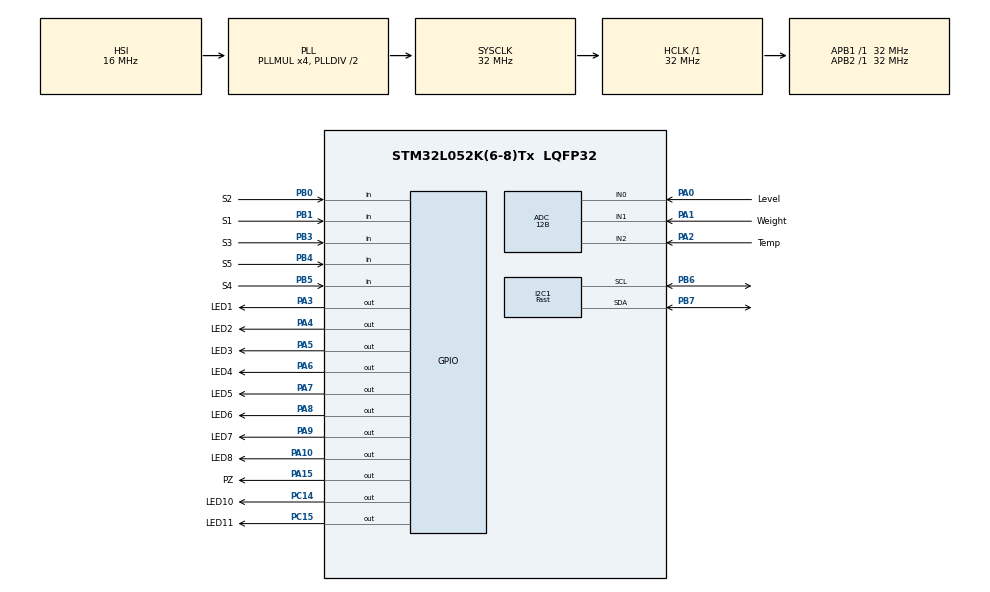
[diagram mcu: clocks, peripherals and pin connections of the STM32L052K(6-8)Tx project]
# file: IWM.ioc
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ADC.ClockPrescaler=ADC_CLOCK_SYNC_PCLK_DIV2
ADC.ContinuousConvMode=DISABLE
ADC.DMAContinuousRequests=DISABLE
ADC.DataAlign=ADC_DATAALIGN_RIGHT
ADC.DiscontinuousConvMode=DISABLE
ADC.EOCSelection=ADC_EOC_SEQ_CONV
ADC.EnableAnalogWatchDog=false
ADC.ExternalTrigConv=ADC_SOFTWARE_START
ADC.ExternalTrigConvEdge=ADC_EXTERNALTRIGCONVEDGE_NONE
ADC.LowPowerAutoPowerOff=DISABLE
ADC.LowPowerAutoWait=DISABLE
ADC.LowPowerFrequencyMode=DISABLE
ADC.Overrun=ADC_OVR_DATA_PRESERVED
ADC.OversamplingMode=DISABLE
ADC.Resolution=ADC_RESOLUTION_12B
ADC.SamplingTime=ADC_SAMPLETIME_1CYCLE_5
ADC.ScanConvMode=ADC_SCAN_DIRECTION_FORWARD
Dma.ADC.0.Direction=DMA_PERIPH_TO_MEMORY
Dma.ADC.0.Instance=DMA1_Channel1
Dma.ADC.0.MemDataAlignment=DMA_MDATAALIGN_WORD
Dma.ADC.0.MemInc=DMA_MINC_ENABLE
Dma.ADC.0.Mode=DMA_NORMAL
Dma.ADC.0.PeriphDataAlignment=DMA_PDATAALIGN_HALFWORD
Dma.ADC.0.PeriphInc=DMA_PINC_DISABLE
Dma.ADC.0.Priority=DMA_PRIORITY_LOW
Dma.Request0=ADC
I2C1.I2C_Speed_Mode=I2C_Fast
I2C1.Timing=0x00300F38
Mcu.Family=STM32L0
Mcu.Name=STM32L052K(6-8)Tx
Mcu.Package=LQFP32
NVIC.DMA1_Channel1_IRQn=true\:0\:0\:false\:false\:true\:false\:true
NVIC.TIM6_DAC_IRQn=true\:0\:0\:false\:false\:true\:true\:true
PA0.GPIO_Label=Level
PA0.Mode=IN0
PA0.Signal=ADC_IN0
PA1.GPIO_Label=Weight
PA1.Mode=IN1
PA1.Signal=ADC_IN1
PA10.GPIO_Label=LED8
PA10.PinState=GPIO_PIN_SET
PA10.Signal=GPIO_Output
PA15.GPIO_Label=PZ
PA15.PinState=GPIO_PIN_SET
PA15.Signal=GPIO_Output
PA2.GPIO_Label=Temp
PA2.Mode=IN2
PA2.Signal=ADC_IN2
PA3.GPIO_Label=LED1
PA3.PinState=GPIO_PIN_SET
PA3.Signal=GPIO_Output
PA4.GPIO_Label=LED2
PA4.PinState=GPIO_PIN_SET
PA4.Signal=GPIO_Output
PA5.GPIO_Label=LED3
PA5.PinState=GPIO_PIN_SET
PA5.Signal=GPIO_Output
PA6.GPIO_Label=LED4
PA6.PinState=GPIO_PIN_SET
PA6.Signal=GPIO_Output
PA7.GPIO_Label=LED5
PA7.PinState=GPIO_PIN_SET
PA7.Signal=GPIO_Output
PA8.GPIO_Label=LED6
PA8.PinState=GPIO_PIN_SET
PA8.Signal=GPIO_Output
PA9.GPIO_Label=LED7
PA9.PinState=GPIO_PIN_SET
PA9.Signal=GPIO_Output
PB0.GPIO_Label=S2
PB0.GPIO_PuPd=GPIO_PULLUP
PB0.Signal=GPIO_Input
PB1.GPIO_Label=S1
PB1.GPIO_PuPd=GPIO_PULLUP
PB1.Signal=GPIO_Input
PB3.GPIO_Label=S3
PB3.GPIO_PuPd=GPIO_PULLUP
PB3.Signal=GPIO_Input
PB4.GPIO_Label=S5
PB4.GPIO_PuPd=GPIO_PULLUP
PB4.Signal=GPIO_Input
PB5.GPIO_Label=S4
PB5.GPIO_PuPd=GPIO_PULLUP
PB5.Signal=GPIO_Input
PB6.Mode=I2C
PB6.Signal=I2C1_SCL
PB7.Mode=I2C
PB7.Signal=I2C1_SDA
PC14-OSC32_IN.GPIO_Label=LED10
PC14-OSC32_IN.PinState=GPIO_PIN_SET
PC14-OSC32_IN.Signal=GPIO_Output
PC15-OSC32_OUT.GPIO_Label=LED11
PC15-OSC32_OUT.PinState=GPIO_PIN_SET
PC15-OSC32_OUT.Signal=GPIO_Output
ProjectManager.HeapSize=0x200
ProjectManager.StackSize=0x400
ProjectManager.TargetToolchain=TrueSTUDIO
RCC.AHBFreq_Value=32000000
RCC.APB1Freq_Value=32000000
RCC.APB1TimFreq_Value=32000000
RCC.APB2Freq_Value=32000000
RCC.APB2TimFreq_Value=32000000
RCC.HCLKFreq_Value=32000000
RCC.HSI16_VALUE=16000000
RCC.HSI48_VALUE=48000000
RCC.HSI_VALUE=16000000
RCC.LSE_VALUE=32768
RCC.MSI_VALUE=2097000
RCC.PLLMUL=RCC_PLLMUL_4
RCC.SYSCLKFreq_VALUE=32000000
RCC.SYSCLKSource=RCC_SYSCLKSOURCE_PLLCLK
RCC.VCOOutputFreq_Value=64000000
TIM6.AutoReloadPreload=TIM_AUTORELOAD_PRELOAD_DISABLE
TIM6.Period=999
TIM6.Prescaler=31
VP_TIM6_VS_ClockSourceINT.Mode=Enable_Timer
board=custom

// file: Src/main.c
/* USER CODE BEGIN Header */
/**
 ******************************************************************************
 * @file           : main.c
 * @brief          : Main program body
 ******************************************************************************
 ** This notice applies to any and all portions of this file
 * that are not between comment pairs USER CODE BEGIN and
 * USER CODE END. Other portions of this file, whether
 * inserted by the user or by software development tools
 * are owned by their respective copyright owners.
 *
 * COPYRIGHT(c) 2019 STMicroelectronics
 *
 * Redistribution and use in source and binary forms, with or without modification,
 * are permitted provided that the following conditions are met:
 *   1. Redistributions of source code must retain the above copyright notice,
 *      this list of conditions and the following disclaimer.
 *   2. Redistributions in binary form must reproduce the above copyright notice,
 *      this list of conditions and the following disclaimer in the documentation
 *      and/or other materials provided with the distribution.
 *   3. Neither the name of STMicroelectronics nor the names of its contributors
 *      may be used to endorse or promote products derived from this software
 *      without specific prior written permission.
 *
 * THIS SOFTWARE IS PROVIDED BY THE COPYRIGHT HOLDERS AND CONTRIBUTORS "AS IS"
 * AND ANY EXPRESS OR IMPLIED WARRANTIES, INCLUDING, BUT NOT LIMITED TO, THE
 * IMPLIED WARRANTIES OF MERCHANTABILITY AND FITNESS FOR A PARTICULAR PURPOSE ARE
 * DISCLAIMED. IN NO EVENT SHALL THE COPYRIGHT HOLDER OR CONTRIBUTORS BE LIABLE
 * FOR ANY DIRECT, INDIRECT, INCIDENTAL, SPECIAL, EXEMPLARY, OR CONSEQUENTIAL
 * DAMAGES (INCLUDING, BUT NOT LIMITED TO, PROCUREMENT OF SUBSTITUTE GOODS OR
 * SERVICES; LOSS OF USE, DATA, OR PROFITS; OR BUSINESS INTERRUPTION) HOWEVER
 * CAUSED AND ON ANY THEORY OF LIABILITY, WHETHER IN CONTRACT, STRICT LIABILITY,
 * OR TORT (INCLUDING NEGLIGENCE OR OTHERWISE) ARISING IN ANY WAY OUT OF THE USE
 * OF THIS SOFTWARE, EVEN IF ADVISED OF THE POSSIBILITY OF SUCH DAMAGE.
 *
 ******************************************************************************
 */
/* USER CODE END Header */

#include "main.h"
#include "adc.h"
#include "dma.h"
#include "i2c.h"
#include "tim.h"
#include "gpio.h"

/* USER CODE BEGIN Includes */
#include "lcd_user.h"
#include <stdio.h>
/* USER CODE END Includes */

/* USER CODE BEGIN PD */
#define REV(x) HAL_GPIO_WritePin(LED1_GPIO_Port,LED1_Pin,(x)?GPIO_PIN_SET:GPIO_PIN_RESET)
#define LOCK(x) HAL_GPIO_WritePin(LED2_GPIO_Port,LED2_Pin,(x)?GPIO_PIN_SET:GPIO_PIN_RESET)
#define FWD(x) HAL_GPIO_WritePin(LED3_GPIO_Port,LED3_Pin,(x)?GPIO_PIN_SET:GPIO_PIN_RESET)
#define DETERGENT(x) HAL_GPIO_WritePin(LED4_GPIO_Port,LED4_Pin,(x)?GPIO_PIN_SET:GPIO_PIN_RESET)
#define SUPPLY(x) HAL_GPIO_WritePin(LED5_GPIO_Port,LED5_Pin,(x)?GPIO_PIN_SET:GPIO_PIN_RESET)
#define HEATING(x) HAL_GPIO_WritePin(LED6_GPIO_Port,LED6_Pin,(x)?GPIO_PIN_SET:GPIO_PIN_RESET)
#define SOFT(x) HAL_GPIO_WritePin(LED7_GPIO_Port,LED7_Pin,(x)?GPIO_PIN_SET:GPIO_PIN_RESET)
#define DRYER(x) HAL_GPIO_WritePin(LED8_GPIO_Port,LED8_Pin,(x)?GPIO_PIN_SET:GPIO_PIN_RESET)
#define DRAIN(x) HAL_GPIO_WritePin(LED10_GPIO_Port,LED10_Pin,(x)?GPIO_PIN_SET:GPIO_PIN_RESET)
#define HI_SPEED(x) HAL_GPIO_WritePin(LED11_GPIO_Port,LED11_Pin,(x)?GPIO_PIN_SET:GPIO_PIN_RESET)

#define BUZZER(x) HAL_GPIO_WritePin(PZ_GPIO_Port,PZ_Pin,(x)?GPIO_PIN_SET:GPIO_PIN_RESET)

#define SW_ENTER HAL_GPIO_ReadPin(S1_GPIO_Port,S1_Pin)
#define SW_DOWN HAL_GPIO_ReadPin(S2_GPIO_Port,S2_Pin)
#define SW_BACK HAL_GPIO_ReadPin(S3_GPIO_Port,S3_Pin)
#define SW_UP HAL_GPIO_ReadPin(S4_GPIO_Port,S4_Pin)
#define SW_DOOR HAL_GPIO_ReadPin(S5_GPIO_Port,S5_Pin)

/* USER CODE END PD */

/* USER CODE BEGIN PV */
int i = 0, timeload = 1, c = 0, au = 0, work = 0, check = 0, revt, l = 0;
int le, we, te, ltem;
char revtime[100];
char revtemp[100];
char time[10];
char days[10];
char tida[3][25];
char mods[3][30];
char lwe[3][30];
char ltime[3][30];
char lvel[3][30];
char lpc[3][30];
char level[100];
char weight[100];
char temp[100];
uint32_t adc[3];
uint32_t tc[10] = { 0, };
uint8_t tem = 0;
uint8_t t = 0;
uint8_t ms = 0;
uint8_t s = 0;
uint8_t m = 0;
uint8_t h = 0;
uint32_t yea = 21;
uint8_t mon = 1;
uint8_t day = 1;

/* USER CODE END PV */

void SystemClock_Config(void);
/* USER CODE BEGIN PFP */
void* memset(void *ptr, int value, size_t num);
/* USER CODE END PFP */

/* USER CODE BEGIN 0 */

void ledoff() {

	REV(0);
	LOCK(0);
	FWD(0);
	DETERGENT(0);
	SUPPLY(0);
	HEATING(0);
	SOFT(0);
	DRYER(0);
	DRAIN(0);
	HI_SPEED(0);

}
void st() {
	while (SW_UP == 0) {
		HAL_Delay(75);
	}
	while (SW_DOWN == 0) {
		HAL_Delay(75);
	}
	while (SW_BACK == 0) {
		HAL_Delay(75);
	}
	while (SW_ENTER == 0) {
		HAL_Delay(75);
	}
	BUZZER(1);
	HAL_Delay(100);
	BUZZER(0);
}

void error() {

	while (SW_UP == 0) {
		HAL_Delay(75);
	}
	while (SW_DOWN == 0) {
		HAL_Delay(75);
	}
	while (SW_BACK == 0) {
		HAL_Delay(75);
	}
	while (SW_ENTER == 0) {
		HAL_Delay(75);
	}

	BUZZER(1);
	HAL_Delay(100);
	BUZZER(0);
	HAL_Delay(100);
	BUZZER(1);
	HAL_Delay(100);
	BUZZER(0);

}

int dcount(int i) {

	switch (mon) {
	case 1:
		if (day == 32) {
			day = 1;
			mon++;
		}
		break;
	case 2:
		if (i == 0) {
			if (day == 29) {
				day = 1;
				mon++;
			}
		} else {
			if (day == 30) {
				day = 1;
				mon++;
			}
		}
		break;
	case 3:
		if (day == 32) {
			day = 1;
			mon++;
		}
		break;
	case 4:
		if (day == 31) {
			day = 1;
			mon++;
		}
		break;
	case 5:
		if (day == 32) {
			day = 1;
			mon++;
		}
		break;
	case 6:
		if (day == 31) {
			day = 1;
			mon++;
		}
		break;
	case 7:
		if (day == 32) {
			day = 1;
			mon++;
		}
		break;
	case 8:
		if (day == 32) {
			day = 1;
			mon++;
		}
		break;
	case 9:
		if (day == 31) {
			day = 1;
			mon++;
		}
		break;
	case 10:
		if (day == 32) {
			day = 1;
			mon++;
		}
		break;
	case 11:
		if (day == 31) {
			day = 1;
			mon++;
		}
		break;
	case 12:
		if (day == 32) {

			day = 1;
			mon = 1;
			yea++;
		}
		break;
	}
}

void daygo() {

	int i;
	if (h == 24) {
		h = 0;
		day++;
	}
	if (day >= 28) {
		if (yea % 4 == 0 && yea % 100 == 0 && yea % 400 == 0) {
			//윤년
			i = 1;
		} else if (yea % 4 == 0 && yea % 100 == 0) {
			//평년
			i = 0;
		} else if (yea % 4 == 0) {
			//윤년
			i = 1;
		} else {
			//평년
			i = 0;
		}
	}

	dcount(i);

}

void timego() {
	uint8_t n;

	if (t == 100) {
		t = 0;
		ms++;

		if (ms == 10) {
			ms = 0;
			s++;
		}
		if (s == 60) {
			s = 0;
			m++;
		}
		if (m == 60) {
			m = 0;
			h++;
			daygo();
		}
		sprintf(time, "%02d:%02d:%02d", h, m, s);
		sprintf(days, "%02ld-%02d-%02d", yea, mon, day);

		if (timeload == 1) {

			OLED_ShowStringXY(13, 0, time, 1);
			OLED_ShowStringXY(0, 0, days, 1);

		}
	}

}

void HAL_TIM_PeriodElapsedCallback(TIM_HandleTypeDef *htim) {

	int a;

	if (htim->Instance == htim6.Instance) {
		t++;
		for (a = 0; a < 8; a++)
			tc[i]++;
		timego();
	}
}

void oc() {
	int r, n;

	for (r = 1; r < 8; r++) {
		IIC_Writecmd(0xb0 + r);
		IIC_Writecmd(0x00);
		IIC_Writecmd(0x10);
		for (n = 0; n < 128; n++)
			IIC_Writedata(0);
	}
	OLED_Set_Pos(0, 0);

	if (timeload == 1) {
		OLED_Set_Pos(0, 1);
		for (n = 0; n < 128; n++)
			IIC_Writedata(1);
		OLED_Set_Pos(0, 0);
	}
}

void door() {

	if (SW_DOOR == 0) {

		LOCK(1);
		OLED_ShowStringXY(0, 4, "D:CLOSE", 1);

	} else if (SW_DOOR == 1) {
		if (work == 1) {
			BUZZER(1);
			HAL_Delay(100);
			BUZZER(0);
			HAL_Delay(100);
		}

		LOCK(0);
		OLED_ShowStringXY(0, 4, "D:OPEN   ", 1);

	}

}

void vr() {

	HAL_ADC_Start_DMA(&hadc, (uint32_t*) adc, 3);

	le = adc[0] / 40 - 3;
	we = adc[1] / 227;
	te = adc[2] / 56 - 3;

	if (le <= -1) {
		le = 0;
	}
	if (te <= -1) {
		te = 0;
	}
	if (te >= 66 || we >= 16) {
		BUZZER(1);
		HAL_Delay(100);
		BUZZER(0);
		HAL_Delay(100);

	}

	sprintf(level, "L:%02d", le);
	sprintf(weight, "W:%02d", we);
	sprintf(temp, "T:%02d", te);

	OLED_ShowStringXY(0, 6, level, 1);
	OLED_ShowStringXY(8, 6, weight, 1);
	OLED_ShowStringXY(16, 6, temp, 1);

	if (le >= we * 6 && le != 0) {

		SUPPLY(0);

		if (c == 0) {
			c = 1;
			sprintf(lvel[2], "%s", lvel[1]);
			sprintf(lvel[1], "%s", lvel[0]);
			sprintf(lvel[0], "Water cost:%.2lf m|", tc[5] / 1000 * 0.08);

		}

	}

	door();

}

void vrr() {

	HAL_ADC_Start_DMA(&hadc, (uint32_t*) adc, 3);

	le = adc[0] / 40 - 3;
	we = adc[1] / 227;
	te = adc[2] / 56 - 3;

	if (le <= -1) {
		le = 0;
	}
	if (te <= -1) {
		te = 0;
	}
	if (te >= 66 || we >= 16) {
		BUZZER(1);
		HAL_Delay(100);
		BUZZER(0);
		HAL_Delay(100);

	}

	sprintf(level, "L:%02d", le);
	sprintf(weight, "W:%02d", we);
	sprintf(temp, "T:%02d", te);

	OLED_ShowStringXY(0, 6, level, 1);
	OLED_ShowStringXY(8, 6, weight, 1);
	OLED_ShowStringXY(16, 6, temp, 1);

	if (le >= we * 6 && le != 0) {

		SUPPLY(0);

		if (au == 0) {
			if (c == 0) {
				c = 1;
				sprintf(lvel[2], "%s", lvel[1]);
				sprintf(lvel[1], "%s", lvel[0]);
				sprintf(lvel[0], "Water cost:%.2lf m|", tc[5] / 1000 * 0.08);

			}
		}

	}

	door();

}

void vd() {

	HAL_ADC_Start_DMA(&hadc, (uint32_t*) adc, 3);

	le = adc[0] / 40 - 3;
	we = adc[1] / 227;
	te = adc[2] / 56 - 3;

	if (le <= -1) {
		le = 0;
	}
	if (te <= -1) {
		te = 0;
	}

	if (te >= 66 || we >= 16) {
		BUZZER(1);
		HAL_Delay(100);
		BUZZER(0);
		HAL_Delay(100);

	}

	sprintf(level, "L:%02d", le);
	sprintf(weight, "W:%02d", we);
	sprintf(temp, "T:%02d", te);

	OLED_ShowStringXY(0, 6, level, 1);
	OLED_ShowStringXY(8, 6, weight, 1);
	OLED_ShowStringXY(16, 6, temp, 1);

	door();

}

void swui() {

	switch (i) {

	case 0:
		OLED_ShowStringXY(13, 4, "SET:COLD", 1);
		tem = 20;
		break;

	case 1:
		OLED_ShowStringXY(13, 4, "SET:30}C", 1);
		tem = 30;
		break;

	case 2:
		OLED_ShowStringXY(13, 4, "SET:40}C", 1);
		tem = 40;
		break;

	case 3:
		OLED_ShowStringXY(13, 4, "SET:50}C", 1);
		tem = 50;
		break;

	case 4:
		OLED_ShowStringXY(13, 4, "SET:60}C", 1);
		tem = 60;
		break;

	}

}

int sww(int x) {

	static int j = 1;

	if (x == 1) {
		tc[5] = 0;
		tc[7] = 0;
		check = 1;
		SUPPLY(1);
		DETERGENT(1);
		tc[1] = 0;
		j = 2;
	}

	if (j == 2) {
		if (tc[1] >= 2000) {
			DETERGENT(0);
			return 1;
		}
	}

}

int srw(int x) {

	static int j = 1;

	if (x == 1) {
		tc[5] = 0;
		tc[7] = 0;
		check = 1;
		SUPPLY(1);
		DETERGENT(1);
		tc[1] = 0;
		j = 2;
	}

	if (j == 2) {
		if (tc[1] >= 1000) {
			DETERGENT(0);
			return 1;
		}
	}

	if (tc[7] >= 5000 && le < we * 6) {
		BUZZER(1);
		HAL_Delay(100);
		BUZZER(0);
		HAL_Delay(100);

	}
}

int semid() {

	int x = 1, y = 0, j = 0, z;
	i = 0;
	ledoff();
	door();
	vd();
	tc[7] = 0;

	while (1) {

		if (tc[0] >= 75) {
			tc[0] = 0;
			vd();
			if (tc[2] >= 500) {
				tc[2] = 0;

				if (le < 2 && SW_DOOR == 0) {

					work = 1;
					DRAIN(0);

					if (y == 0) {
						y = 1;
						tc[3] = 0;
					}

					if (tc[3] >= 0 && tc[3] < 3000) {
						FWD(1);
					} else if (tc[3] >= 3000 && tc[3] < 4000) {
						FWD(0);
					} else if (tc[3] >= 4000 && tc[3] < 7000) {
						REV(1);
					} else if (tc[3] >= 7000 && tc[3] < 8000) {
						REV(0);
					} else if (tc[3] >= 8000 && tc[3] < 11000) {
						FWD(1);
					} else if (tc[3] >= 11000 && tc[3] < 20000) {
						HI_SPEED(1);
					} else if (tc[3] >= 20000 && tc[3] < 21000) {
						HI_SPEED(0);
					} else if (tc[3] >= 22000 && tc[3] < 23000) {
						ledoff();
						i = 2;
						work = 0;
						check = 0;
						return 5;
					}
				}
			}
		}

		if (le >= 2) {
			if (check == 0) {
				tc[7] = 0;
				check = 1;
			} else if (check == 1 && tc[7] >= 5000) {
				BUZZER(1);
				HAL_Delay(100);
				BUZZER(0);
				HAL_Delay(100);

			}
			DRAIN(1);

		} else {
			DRAIN(0);

		}

		if (SW_UP == 0) {
			error();

		} else if (SW_DOWN == 0) {
			error();

		}

		if (SW_ENTER == 0) {
			error();

		}

		if (SW_BACK == 0) {

			error();

		}
	}

}

int semir() {

	int x = 1, y = 0, j = 0, z;

	i = 0;
	door();

	while (1) {

		if (tc[0] >= 75) {
			tc[0] = 0;
			vrr();

			if (tc[2] >= 500) {
				tc[2] = 0;

				if (SW_DOOR == 0) {
					j = srw(x);
					if (x == 1) {
						x = 2;

					}
				}

				if (j == 1 && x == 2 && le >= we * 6 && SW_DOOR == 0
						&& le != 0) {

					work = 1;

					if (y == 0) {
						y = 1;
						tc[3] = 0;
					}

					if (tc[3] >= 0 && tc[3] < 2000) {
						FWD(1);
					} else if (tc[3] >= 2000 && tc[3] < 3000) {
						FWD(0);
					} else if (tc[3] >= 3000 && tc[3] < 5000) {
						REV(1);
					} else if (tc[3] >= 5000 && tc[3] < 6000) {
						REV(0);
					} else if (tc[3] >= 6000 && tc[3] < 8000) {
						FWD(1);
					} else if (tc[3] >= 8000 && tc[3] < 9000) {
						FWD(0);
					} else if (tc[3] >= 9000 && tc[3] < 11000) {
						REV(1);
					} else if (tc[3] >= 11000 && tc[3] < 12000) {
						REV(0);
						ledoff();
						i = 1;
						c = 0;
						work = 0;
						check = 0;
						return 5;
					}
				}
			}
		}

		if (check == 1) {
			if (tc[7] >= 5000 && le < we * 6) {
				BUZZER(1);
				HAL_Delay(100);
				BUZZER(0);
				HAL_Delay(100);

			}
		}

		if (SW_UP == 0) {
			error();

		} else if (SW_DOWN == 0) {
			error();
		}

		if (SW_ENTER == 0) {
			error();

		}

		if (SW_BACK == 0) {

			error();

		}
	}

}

int semiw() {

	int x = 0, y = 0, j = 0, ch = 0;

	i = 0;
	OLED_ShowStringXY(15, 2, "SETT", 1);
	door();
	swui();

	while (1) {

		if (tc[0] >= 75) {
			tc[0] = 0;
			vr();
			if (tc[2] >= 500) {
				tc[2] = 0;
				j = sww(x);
				if (x == 1) {
					x = 2;

				}

				if (j == 1 && x == 2 && le >= we * 6 && te >= tem
						&& SW_DOOR == 0 && le != 0) {

					work = 1;

					if (y == 0) {
						y = 1;
						tc[3] = 0;
					}

					if (tc[3] >= 0 && tc[3] < 2000) {
						FWD(1);
					} else if (tc[3] >= 2000 && tc[3] < 3000) {
						FWD(0);
					} else if (tc[3] >= 3000 && tc[3] < 5000) {
						REV(1);
					} else if (tc[3] >= 5000 && tc[3] < 6000) {
						REV(0);
					} else if (tc[3] >= 6000 && tc[3] < 8000) {
						FWD(1);
					} else if (tc[3] >= 8000 && tc[3] < 9000) {
						FWD(0);
					} else if (tc[3] >= 9000 && tc[3] < 11000) {
						REV(1);
					} else if (tc[3] >= 11000 && tc[3] < 12000) {
						REV(0);
					} else if (tc[3] >= 12000 && tc[3] < 14000) {
						FWD(1);
					} else if (tc[3] >= 14000 && tc[3] < 15000) {
						FWD(0);
					} else if (tc[3] >= 15000 && tc[3] < 17000) {
						REV(1);
					} else if (tc[3] >= 17000 && tc[3] < 18000) {
						ledoff();
						i = 0;
						c = 0;
						work = 0;
						check = 0;
						return 5;
					}
				}
			}

		}

		if (te < tem && le >= we * 6 && le != 0 && we != 0) {
			if (ch == 0) {
				tc[6] = 0;
				ch = 1;
			}
			HEATING(1);

		}

		if (tc[6] < 5000 && te < tem) {
			BUZZER(1);
			HAL_Delay(100);
			BUZZER(0);
			HAL_Delay(100);

		}

		if (te >= tem) {
			if (au == 0) {
				sprintf(lpc[2], "%s", lpc[1]);
				sprintf(lpc[1], "%s", lpc[0]);
				sprintf(lpc[0], "Power cost:%.2lf kw.h",
						12 * 0.05 + tc[6] / 1000 * 0.2);

			}
			ltem = tc[6];
			HEATING(0);

		}

		if (check == 1) {
			if (tc[7] >= 5000 && le < we * 6) {
				BUZZER(1);
				HAL_Delay(100);
				BUZZER(0);
				HAL_Delay(100);

			}
		}

		if (SW_UP == 0) {
			st();
			i++;
			if (i >= 5) {
				i = 4;
			}
			swui();

		} else if (SW_DOWN == 0) {
			st();
			i--;
			if (i <= -1) {
				i = 0;
			}
			swui();

		}

		if (SW_ENTER == 0) {
			st();
			if (SW_DOOR == 0) {
				OLED_ShowStringXY(15, 2, "     ", 1);
				x++;

			}

		}

		if (SW_BACK == 0) {

			error();

		}

	}

}

int sautodry() {

	int x = 1, y = 0, j = 0, z;

	i = 0;
	OLED_ShowStringXY(0, 2, "Auto-Dry ", 1);
	door();

	while (1) {

		if (tc[0] >= 75) {
			tc[0] = 0;
			vd();
			if (tc[2] >= 500) {
				tc[2] = 0;

				if (le < 2 && SW_DOOR == 0) {
					work = 1;
					DRAIN(0);

					if (y == 0) {
						y = 1;
						tc[3] = 0;
					}

					if (tc[3] >= 0 && tc[3] < 2000) {
						FWD(1);
						DRYER(1);
					} else if (tc[3] >= 2000 && tc[3] < 3000) {
						FWD(0);
					} else if (tc[3] >= 3000 && tc[3] < 5000) {
						REV(1);
					} else if (tc[3] >= 5000 && tc[3] < 6000) {
						REV(0);
					} else if (tc[3] >= 6000 && tc[3] < 8000) {
						FWD(1);
					} else if (tc[3] >= 8000 && tc[3] < 9000) {
						FWD(0);
					} else if (tc[3] >= 9000 && tc[3] < 11000) {
						REV(1);
						DRYER(1);
					} else if (tc[3] >= 11000 && tc[3] < 12000) {
						REV(0);
						ledoff();
						i = 1;
						work = 0;
						return 5;
					}
				}
			}
		}

		if (le >= 2) {
			DRAIN(1);

		} else {
			DRAIN(0);

		}

		if (SW_UP == 0) {
			error();

		} else if (SW_DOWN == 0) {
			error();
		}

		if (SW_ENTER == 0) {
			error();

		}

		if (SW_BACK == 0) {

			error();

		}
	}
}

void semirepui(int j) {

	OLED_ShowStringXY(0, 3, "-OK       ", 0 != j);
	OLED_ShowStringXY(0, 5, "-BACK     ", 1 != j);

}

int semirep() {

	int j = 0;
	semirepui(j);

	while (1) {

		if (SW_UP == 0) {
			st();
			j--;
			if (j <= -1) {
				j = 0;
			}
			semirepui(j);

		} else if (SW_DOWN == 0) {
			st();
			j++;
			if (j >= 2) {
				j = 1;
			}
			semirepui(j);

		}

		if (SW_ENTER == 0) {
			st();
			oc();
			if (j == 1) {
				i = 1;
				return 1;

			} else {
				return 6;

			}

		}

		if (SW_BACK == 0) {
			st();
			i = 1;
			return 1;

		}

	}

}

int sauto() {

	i = 0;
	au = 1;
	OLED_ShowStringXY(0, 2, "Auto-Wash", 1);
	semiw();
	semid();
	semir();
	semid();
	semir();
	semid();
	sautodry();

	au = 0;
	i = 0;
	return 1;

}

void sautoui(int j) {

	OLED_ShowStringXY(0, 1, "Auto", 1);
	OLED_ShowStringXY(0, 3, "-START    ", 0 != j);
	OLED_ShowStringXY(0, 5, "-BACK     ", 1 != j);

}

int sautorep() {

	int j = 0;
	sautoui(j);

	while (1) {

		if (SW_UP == 0) {
			st();
			j--;
			if (j <= -1) {
				j = 0;
			}
			sautoui(j);

		} else if (SW_DOWN == 0) {
			st();
			j++;
			if (j >= 2) {
				j = 1;
			}
			sautoui(j);

		}

		if (SW_ENTER == 0) {
			st();
			oc();
			if (j == 1) {
				i = 0;
				return 0;

			} else {
				return 7;

			}

		}

		if (SW_BACK == 0) {

			st();
			i = 0;
			return 0;

		}

	}

}

void semiui() {
	OLED_ShowStringXY(0, 3, "-Wash     ", 0 != i);
	OLED_ShowStringXY(0, 5, "-RINSE    ", 1 != i);
	OLED_ShowStringXY(0, 7, "-DRY      ", 2 != i);

}

int semi() {

	i = 0;
	OLED_ShowStringXY(0, 1, "Semi", 1);
	semiui();

	while (1) {

		if (SW_UP == 0) {
			st();
			i--;
			if (i <= -1) {
				i = 0;
			}
			semiui();

		} else if (SW_DOWN == 0) {
			st();
			i++;
			if (i >= 3) {
				i = 2;
			}
			semiui();

		}

		if (SW_ENTER == 0) {
			st();
			return 5;

		}

		if (SW_BACK == 0) {
			st();
			oc();
			i = 0;
			return 3;
		}

	}

}

void leds(int j) {

	switch (i) {

	case 0:
		FWD(j != 1);
		break;

	case 1:
		REV(j != 1);
		break;

	case 2:
		DRYER(j != 1);
		break;

	case 3:
		HEATING(j != 1);
		break;

	case 4:
		HI_SPEED(j != 1);
		break;

	case 5:
		SUPPLY(j != 1);
		break;

	case 6:
		DRAIN(j != 1);
		break;

	case 7:
		LOCK(j != 1);
		break;

	case 8:
		DETERGENT(j != 1);
		break;

	case 9:
		SOFT(j != 1);
		break;

	}

}

void led(int j) {

	OLED_ShowStringXY(0, 5, "-ON       ", 0 != j);
	OLED_ShowStringXY(0, 7, "-OFF      ", 1 != j);

}

int manualleds() {
	int j = 0;

	OLED_ShowStringXY(9, 3, "Run", 1);
	led(j);

	while (1) {

		if (SW_UP == 0) {
			st();
			j--;
			if (j <= -1) {
				j = 0;
			}
			led(j);

		} else if (SW_DOWN == 0) {
			st();
			j++;
			if (j >= 2) {
				j = 1;
			}
			led(j);

		} else if (SW_BACK == 0) {
			st();
			oc();
			return 4;
		}

		if (SW_ENTER == 0) {
			st();
			leds(j);
			BUZZER(1);
			HAL_Delay(300);
			BUZZER(0);

		}

	}

}

void manuals() {

	if (i == 3 || i == 4 || i == 8 || i == 9) {
		OLED_ShowStringXY(0, 3, "-HEAT     ", 3 != i);
		OLED_ShowStringXY(0, 5, "-HI-SPEED ", 4 != i);
		OLED_ShowStringXY(11, 3, "-DETE    ", 8 != i);
		OLED_ShowStringXY(11, 5, "-SOFT    ", 9 != i);

	} else {

		OLED_ShowStringXY(0, 3, "-FWD      ", 0 != i);
		OLED_ShowStringXY(0, 5, "-REV      ", 1 != i);
		OLED_ShowStringXY(0, 7, "-DRYER    ", 2 != i);
		OLED_ShowStringXY(11, 3, "-Win     ", 5 != i);
		OLED_ShowStringXY(11, 5, "-Wout    ", 6 != i);
		OLED_ShowStringXY(11, 7, "-LOCK    ", 7 != i);

	}

}

int manual() {

	i = 0;
	OLED_ShowStringXY(0, 1, "Manual", 1);
	manuals();

	while (1) {

		if (SW_UP == 0) {
			st();
			i--;
			if (i <= -1) {
				i = 0;
			}
			if (i == 2 || i == 4 || i == 7) {
				oc();
				OLED_ShowStringXY(0, 1, "Manual", 1);

			}
			manuals();

		} else if (SW_DOWN == 0) {
			st();
			i++;
			if (i >= 10) {
				i = 9;
			}
			if (i == 3 || i == 5 || i == 8) {
				oc();
				OLED_ShowStringXY(0, 1, "Manual", 1);

			}
			manuals();

		}

		if (SW_ENTER == 0) {
			st();
			return 2;

		}

		if (SW_BACK == 0) {
			st();
			oc();
			return 3;
		}

	}

}

int modes() {

	OLED_ShowStringXY(0, 3, "-AUTO     ", 0 != i);
	OLED_ShowStringXY(0, 5, "-SEMI-AUTO", 1 != i);
	OLED_ShowStringXY(0, 7, "-MANUAL   ", 2 != i);

}

int mode() {

	i = 0;
	OLED_ShowStringXY(0, 1, "Mode", 1);
	modes();

	while (1) {

		if (SW_UP == 0) {
			st();
			i--;
			if (i <= -1) {
				i = 0;
			}
			modes();

		} else if (SW_DOWN == 0) {
			st();
			i++;
			if (i >= 3) {
				i = 2;
			}
			modes();

		}

		if (SW_ENTER == 0) {
			st();
			return 1;

		}

		if (SW_BACK == 0) {
			st();
			oc();
			i = 0;
			return -1;
		}

	}

}

int alog() {

	timeload = 0;

	OLED_ShowStringXY(0, 0, "LOG:", 1);
	OLED_ShowStringXY(4, 0, tida[i], 1);
	OLED_ShowStringXY(0, 1, mods[i], 1);
	OLED_ShowStringXY(0, 2, ltime[i], 1);
	OLED_ShowStringXY(12, 2, lwe[i], 1);
	OLED_ShowStringXY(0, 4, lvel[i], 1);
	OLED_ShowStringXY(0, 6, lpc[i], 1);

	while (1) {

		if (SW_UP == 0) {
			error();

		} else if (SW_DOWN == 0) {
			error();

		}

		if (SW_ENTER == 0) {
			error();

		}

		if (SW_BACK == 0) {
			st();
			OLED_Clear();
			i = 2;
			timeload = 1;
			return 0;
		}

	}

}

void logsui() {

	OLED_ShowStringXY(0, 3, "1.", 0 != i);
	OLED_ShowStringXY(0, 5, "2.", 1 != i);
	OLED_ShowStringXY(0, 7, "3.", 2 != i);
	OLED_ShowStringXY(2, 3, tida[0], 0 != i);
	OLED_ShowStringXY(2, 5, tida[1], 1 != i);
	OLED_ShowStringXY(2, 7, tida[2], 2 != i);

}

//sprintf(tida[0], "%02ld-%02d-%02d %02d:%02d:%02d", yea, mon, day, h, m, s);
//sprintf(tida[1], "%02ld-%02d-%02d %02d:%02d:%02d", yea, mon, day, h, m, s);
//sprintf(tida[2], "%02ld-%02d-%02d %02d:%02d:%02d", yea, mon, day, h, m, s);

int logs() {

	i = 0;
	timeload = 0;
	OLED_ShowStringXY(7, 0, "LOG MENU", 1);
	logsui();

	while (1) {

		if (SW_UP == 0) {
			st();
			i--;
			if (i <= -1) {
				i = 0;
			}
			logsui();

		} else if (SW_DOWN == 0) {
			st();
			i++;
			if (i >= 3) {
				i = 2;
			}
			logsui();

		}

		if (SW_ENTER == 0) {
			st();
			OLED_Clear();

			return 8;

		}

		if (SW_BACK == 0) {
			st();
			OLED_Clear();
			i = 0;
			return -1;
		}

	}

}

void wait() {
	int a;
	a = 60000 * l;
	while (1) {

	}

}

void revtiui() {

	if (l == 0) {
		sprintf(revtime, "TIME:NOW       ");
	} else {
		sprintf(revtime, "TIME:%02dminute", l);
	}

	OLED_ShowBigStringXY(0, 4, revtime, 1);

}

void rev() {
	timeload = 0;
	OLED_Clear();
	OLED_ShowBigStringXY(2, 0, "RESERVATION", 1);
	revtiui();

	while (1) {

		if (SW_UP == 0) {
			st();
			l++;
			if (l >= 11) {
				l = 10;
			}
			revtiui();

		} else if (SW_DOWN == 0) {
			st();
			l--;
			if (l <= -1) {
				l = 0;
			}
			revtiui();
		}

		if (SW_ENTER == 0) {
			st();
			if (l >= 1) {
				wait();
			}
			timeload = 1;
			OLED_Clear();
			return;
		}

		if (SW_BACK == 0) {
			error();
		}

	}

}

void wg(int j) {

	int n;

	while (1) {

		if (j == -1) {

			if (timeload == 1) {
				OLED_Set_Pos(0, 1);
				for (n = 0; n < 128; n++)
					IIC_Writedata(1);
				OLED_Set_Pos(0, 0);
			}

			OLED_ShowStringXY(0, 2, "Menu", 1);
			OLED_ShowStringXY(0, 4, "-ENTER    ", 0);
			OLED_ShowStringXY(0, 6, "-LOG      ", 1);

			return;
		}

		if (j == 0) {

			if (i == 0) {
				oc();
				j = mode();

			} else {
				OLED_Clear();
				j = logs();
				timeload = 1;

			}

		}

		if (j == 1) {

			if (i == 0) {
				oc();
				j = sautorep();

			} else if (i == 1) {
				oc();
				j = semi();

			} else {
				oc();
				j = manual();

			}

		}

		if (j == 2) {
			oc();

			switch (i) {

			case 0:
				OLED_ShowStringXY(0, 1, "Manual-FWD", 1);
				break;

			case 1:
				OLED_ShowStringXY(0, 1, "Manual-REV", 1);
				break;

			case 2:
				OLED_ShowStringXY(0, 1, "Manual-DRYER", 1);
				break;

			case 3:
				OLED_ShowStringXY(0, 1, "Manual-HEAT", 1);
				break;

			case 4:
				OLED_ShowStringXY(0, 1, "Manual-HI-SPEED", 1);
				break;

			case 5:
				OLED_ShowStringXY(0, 1, "Manual-Win", 1);
				break;

			case 6:
				OLED_ShowStringXY(0, 1, "Manual-Wout", 1);
				break;

			case 7:
				OLED_ShowStringXY(0, 1, "Manual-LOCK", 1);
				break;

			case 8:
				OLED_ShowStringXY(0, 1, "Manual-DETE", 1);
				break;

			case 9:
				OLED_ShowStringXY(0, 1, "Manual-SOFT", 1);
				break;

			}
			j = manualleds();

		}

		if (j == 3) {

			j = mode();

		}

		if (j == 4) {

			j = manual();

		}

		if (j == 5) {
			oc();

			switch (i) {

			case 0:
				OLED_ShowStringXY(0, 1, "Semi-Wash", 1);

				break;

			case 1:
				OLED_ShowStringXY(0, 1, "Semi-Rinse", 1);

				break;

			case 2:
				OLED_ShowStringXY(0, 1, "Semi-Dry", 1);

				break;

			}

			j = semirep();

		}

		if (j == 6) {

			oc();
			rev();
			oc();
			sprintf(tida[2], "%s", tida[1]);
			sprintf(tida[1], "%s", tida[0]);
			sprintf(tida[0], "%02ld-%02d-%02d %02d:%02d:%02d", yea, mon, day, h,
					m, s);

			tc[4] = 0;

			switch (i) {

			case 0:
				OLED_ShowStringXY(0, 2, "Semi-Wash", 1);
				sprintf(mods[2], "%s", mods[1]);
				sprintf(mods[1], "%s", mods[0]);
				sprintf(mods[0], "Semi-Wash");
				j = semiw();

				break;

			case 1:
				OLED_ShowStringXY(0, 2, "Semi-Rinse", 1);
				sprintf(mods[2], "%s", mods[1]);
				sprintf(mods[1], "%s", mods[0]);
				sprintf(mods[0], "Semi-Rinse");
				j = semir();
				sprintf(lpc[2], "%s", lpc[1]);
				sprintf(lpc[1], "%s", lpc[0]);
				sprintf(lpc[0], "Power cost:%.2lf kw.h", 8 * 0.05);

				break;

			case 2:
				OLED_ShowStringXY(0, 2, "Semi-Dry", 1);
				sprintf(mods[2], "%s", mods[1]);
				sprintf(mods[1], "%s", mods[0]);
				sprintf(mods[0], "Semi-Dry");
				j = semid();
				sprintf(lpc[2], "%s", lpc[1]);
				sprintf(lpc[1], "%s", lpc[0]);
				sprintf(lpc[0], "Power cost:%.2lf kw.h", 15 * 0.05 + 5 * 0.08);

				break;

			}

			sprintf(ltime[2], "%s", ltime[1]);
			sprintf(ltime[1], "%s", ltime[0]);
			sprintf(ltime[0], "DUR:%d", tc[4] / 1000);

			sprintf(lwe[2], "%s", lwe[1]);
			sprintf(lwe[1], "%s", lwe[0]);
			sprintf(lwe[0], "W:%d kg", we);

			BUZZER(1);
			HAL_Delay(100);
			BUZZER(0);
			HAL_Delay(100);
			BUZZER(1);
			HAL_Delay(100);
			BUZZER(0);
			HAL_Delay(100);
			BUZZER(1);
			HAL_Delay(100);
			BUZZER(0);

		}

		if (j == 7) {
			oc();
			rev();
			oc();
			sprintf(tida[2], "%s", tida[1]);
			sprintf(tida[1], "%s", tida[0]);
			sprintf(tida[0], "%02ld-%02d-%02d %02d:%02d:%02d", yea, mon, day, h,
					m, s);
			sprintf(mods[2], "%s", mods[1]);
			sprintf(mods[1], "%s", mods[0]);
			sprintf(mods[0], "AUTO");

			tc[4] = 0;
			j = sauto();

			sprintf(ltime[2], "%s", ltime[1]);
			sprintf(ltime[1], "%s", ltime[0]);
			sprintf(ltime[0], "DUR:%d", tc[4] / 1000);

			sprintf(lwe[2], "%s", lwe[1]);
			sprintf(lwe[1], "%s", lwe[0]);
			sprintf(lwe[0], "W:%d kg", we);

			sprintf(lpc[2], "%s", lpc[1]);
			sprintf(lpc[1], "%s", lpc[0]);
			sprintf(lpc[0], "Power cost:%.2lf kw.h",
					114 * 0.05 + ltem / 1000 * 0.2 + 15 * 0.08 + 9 * 0.15);

			BUZZER(1);
			HAL_Delay(100);
			BUZZER(0);
			HAL_Delay(100);
			BUZZER(1);
			HAL_Delay(100);
			BUZZER(0);
			HAL_Delay(100);
			BUZZER(1);
			HAL_Delay(100);
			BUZZER(0);

		}

		if (j == 8) {
			OLED_Clear();
			j = alog();
			timeload = 1;

		}

	}

}

int menu() {

	OLED_ShowStringXY(0, 4, "-ENTER    ", 0 != i);
	OLED_ShowStringXY(0, 6, "-LOG      ", 1 != i);

}

/* USER CODE END 0 */

int main(void) {
	/* USER CODE BEGIN 1 */
	int n;
	i = 0;
	/* USER CODE END 1 */

	/* MCU Configuration--------------------------------------------------------*/

	/* Reset of all peripherals, Initializes the Flash interface and the Systick. */
	HAL_Init();

	/* Configure the system clock */
	SystemClock_Config();

	/* Initialize all configured peripherals */
	MX_GPIO_Init();
	MX_DMA_Init();
	MX_ADC_Init();
	MX_I2C1_Init();
	MX_TIM6_Init();
	/* USER CODE BEGIN 2 */

	ledoff();
	BUZZER(0);
	lcd_init(&hi2c1);
//	OLED_ShowStringXY(7, 3, "\fWelcome\n\n   Washing Machine", 1);
	OLED_ShowBigStringXY(6, 2, "2021", 1);
	OLED_ShowBigStringXY(2, 4, "World ", 1);
	OLED_ShowBigStringXY(8, 4, "Skill", 0);

	HAL_Delay(2000);
	OLED_Clear();

	HAL_TIM_Base_Start_IT(&htim6);

	if (timeload == 1) {
		OLED_Set_Pos(0, 1);
		for (n = 0; n < 128; n++)
			IIC_Writedata(1);
		OLED_Set_Pos(0, 0);
	}

	/* USER CODE END 2 */

	OLED_ShowStringXY(0, 2, "Menu", 1);
	menu();

	sprintf(tida[0], "YY-MM-DD hh:mm:ss");
	sprintf(tida[1], "YY-MM-DD hh:mm:ss");
	sprintf(tida[2], "YY-MM-DD hh:mm:ss");
	sprintf(revtime, "TIME:NOW     ");

	/* Infinite loop */
	while (1) {
		if (SW_UP == 0) {
			st();
			i--;
			if (i <= -1) {
				i = 0;
			}
			menu();

		} else if (SW_DOWN == 0) {
			st();
			i++;
			if (i >= 2) {
				i = 1;
			}
			menu();

		}

		if (SW_ENTER == 0) {
			st();
			wg(0);

		}

		if (SW_BACK == 0) {

			error();

		}
	}
}

void SystemClock_Config(void) {
	RCC_OscInitTypeDef RCC_OscInitStruct = { 0 };
	RCC_ClkInitTypeDef RCC_ClkInitStruct = { 0 };
	RCC_PeriphCLKInitTypeDef PeriphClkInit = { 0 };

	/**Configure the main internal regulator output voltage
	 */
	__HAL_PWR_VOLTAGESCALING_CONFIG(PWR_REGULATOR_VOLTAGE_SCALE1);
	/**Initializes the CPU, AHB and APB busses clocks
	 */
	RCC_OscInitStruct.OscillatorType = RCC_OSCILLATORTYPE_HSI;
	RCC_OscInitStruct.HSIState = RCC_HSI_ON;
	RCC_OscInitStruct.HSICalibrationValue = RCC_HSICALIBRATION_DEFAULT;
	RCC_OscInitStruct.PLL.PLLState = RCC_PLL_ON;
	RCC_OscInitStruct.PLL.PLLSource = RCC_PLLSOURCE_HSI;
	RCC_OscInitStruct.PLL.PLLMUL = RCC_PLLMUL_4;
	RCC_OscInitStruct.PLL.PLLDIV = RCC_PLLDIV_2;
	if (HAL_RCC_OscConfig(&RCC_OscInitStruct) != HAL_OK) {
		Error_Handler();
	}
	/**Initializes the CPU, AHB and APB busses clocks
	 */
	RCC_ClkInitStruct.ClockType = RCC_CLOCKTYPE_HCLK | RCC_CLOCKTYPE_SYSCLK
			| RCC_CLOCKTYPE_PCLK1 | RCC_CLOCKTYPE_PCLK2;
	RCC_ClkInitStruct.SYSCLKSource = RCC_SYSCLKSOURCE_PLLCLK;
	RCC_ClkInitStruct.AHBCLKDivider = RCC_SYSCLK_DIV1;
	RCC_ClkInitStruct.APB1CLKDivider = RCC_HCLK_DIV1;
	RCC_ClkInitStruct.APB2CLKDivider = RCC_HCLK_DIV1;

	if (HAL_RCC_ClockConfig(&RCC_ClkInitStruct, FLASH_LATENCY_1) != HAL_OK) {
		Error_Handler();
	}
	PeriphClkInit.PeriphClockSelection = RCC_PERIPHCLK_I2C1;
	PeriphClkInit.I2c1ClockSelection = RCC_I2C1CLKSOURCE_PCLK1;
	if (HAL_RCCEx_PeriphCLKConfig(&PeriphClkInit) != HAL_OK) {
		Error_Handler();
	}
}

void Error_Handler(void) {
}

/************************ (C) COPYRIGHT STMicroelectronics *****END OF FILE****/
